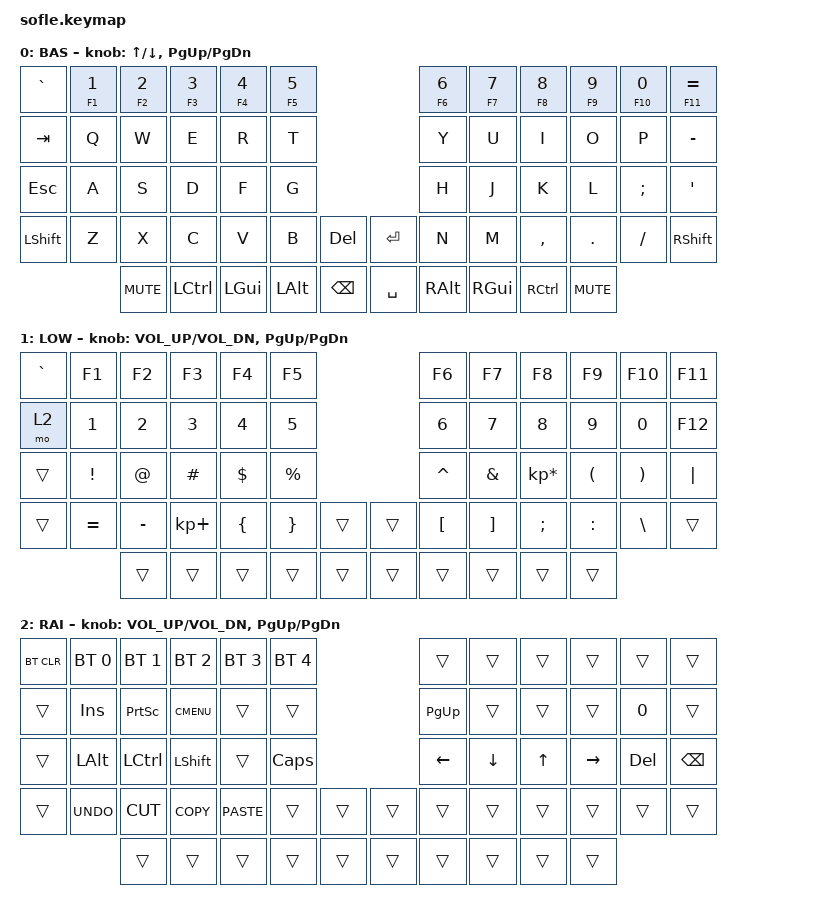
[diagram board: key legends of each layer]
/*
 * Copyright (c) 2020 The ZMK Contributors
 *
 * SPDX-License-Identifier: MIT
 */

#include <behaviors.dtsi>
#include <dt-bindings/zmk/bt.h>
#include <dt-bindings/zmk/keys.h>

/ {
    keymap {
        compatible = "zmk,keymap";

        default_layer {
            display-name = "BAS";

            // ------------------------------------------------------------------------------------------------------------
            // |  `    |  1  |  2  |  3   |  4   |  5   |                   |  6   |  7    |  8    |  9   |   0   |       |
            // |  ESC  |  Q  |  W  |  E   |  R   |  T   |                   |  Y   |  U    |  I    |  O   |   P   | BKSPC |
            // |  TAB  |  A  |  S  |  D   |  F   |  G   |                   |  H   |  J    |  K    |  L   |   ;   |   '   |
            // | SHIFT |  Z  |  X  |  C   |  V   |  B   |  MUTE  |  |       |  N   |  M    |  ,    |  .   |   /   | SHIFT |
            //               | GUI | ALT  | CTRL | LOWER|  ENTER |  | SPACE | RAISE| CTRL  | ALT   | GUI  |

            bindings = <
&kp GRAVE   &mt F1 N1  &mt F2 N2   &mt F3 N3  &mt F4 N4     &mt F5 N5                                 &mt F6 N6      &mt F7 N7  &mt F8 N8  &mt F9 N9   &mt F10 N0  &mt F11 EQUAL
&kp TAB     &kp Q      &kp W       &kp E      &kp R         &kp T                                     &kp Y          &kp U      &kp I      &kp O       &kp P       &kp MINUS
&kp ESCAPE  &kp A      &kp S       &kp D      &kp F         &kp G                                     &kp H          &kp J      &kp K      &kp L       &kp SEMI    &kp SQT
&kp LSHFT   &kp Z      &kp X       &kp C      &kp V         &kp B         &kp DEL          &kp RET    &kp N          &kp M      &kp COMMA  &kp DOT     &kp FSLH    &kp RIGHT_SHIFT
                       &kp K_MUTE  &kp LCTRL  &kp LEFT_GUI  &kp LEFT_ALT  &kp BACKSPACE    &kp SPACE  &kp RIGHT_ALT  &kp RGUI   &kp RCTRL  &kp K_MUTE
            >;

            sensor-bindings = <&inc_dec_kp UP DOWN>, <&inc_dec_kp PG_UP PG_DN>;
        };

        lower_layer {
            display-name = "LOW";

            // ------------------------------------------------------------------------------------------------------------
            // | `     |  F1 |  F2 |  F3  |  F4  |  F5  |                   |  F6  |  F7   |  F8   |  F9  |  F10  |  F11  |
            // | RAISE |   1 |   2 |   3  |   4  |   5  |                   |   6  |   7   |   8   |   9  |    0  |  F12  |
            // |       |  !  |  @  |  #   |  $   |  %   |                   |  ^   |  &    |  *    |  (   |   )   |   |   |
            // |       |  =  |  -  |  +   |  {   |  }   |        |  |       |  [   |  ]    |  ;    |  :   |   \   |       |
            //               |     |      |      |      |        |  |       |      |       |       |      |

            bindings = <
&kp GRAVE  &kp F1     &kp F2     &kp F3       &kp F4    &kp F5                       &kp F6     &kp F7    &kp F8           &kp F9     &kp F10   &kp F11
&mo 2      &kp N1     &kp N2     &kp N3       &kp N4    &kp N5                       &kp N6     &kp N7    &kp N8           &kp N9     &kp N0    &kp F12
&trans     &kp EXCL   &kp AT     &kp HASH     &kp DLLR  &kp PRCNT                    &kp CARET  &kp AMPS  &kp KP_MULTIPLY  &kp LPAR   &kp RPAR  &kp PIPE
&trans     &kp EQUAL  &kp MINUS  &kp KP_PLUS  &kp LBRC  &kp RBRC   &trans    &trans  &kp LBKT   &kp RBKT  &kp SEMI         &kp COLON  &kp BSLH  &trans
                      &trans     &trans       &trans    &trans     &trans    &trans  &trans     &trans    &trans           &trans
            >;

            sensor-bindings = <&inc_dec_kp C_VOL_UP C_VOL_DN &inc_dec_kp PG_UP PG_DN>;
        };

        raise_layer {
            display-name = "RAI";

            // ------------------------------------------------------------------------------------------------------------
            // |BTCLR| BT1  | BT2  |  BT3  |  BT4  |  BT5 |                |      |      |       |      |       |       |
            // |     | INS  | PSCR | GUI   |       |      |                | PGUP |      |       |      |       |       |
            // |     | ALT  | CTRL | SHIFT |       | CAPS |                |  <-  |   v  |   ^   |  ->  |  DEL  | BKSPC |
            // |     | UNDO | CUT  | COPY  | PASTE |      |      |  |      |      |      |       |      |       |       |
            //              |      |       |       |      |      |  |      |      |      |       |      |

            bindings = <
&bt BT_CLR  &bt BT_SEL 0  &bt BT_SEL 1  &bt BT_SEL 2  &bt BT_SEL 3  &bt BT_SEL 4                    &trans     &trans    &trans  &trans     &trans   &trans
&trans      &kp INS       &kp PSCRN     &kp K_CMENU   &trans        &trans                          &kp PG_UP  &trans    &trans  &trans     &kp N0   &trans
&trans      &kp LALT      &kp LCTRL     &kp LSHFT     &trans        &kp CLCK                        &kp LEFT   &kp DOWN  &kp UP  &kp RIGHT  &kp DEL  &kp BSPC
&trans      &kp K_UNDO    &kp K_CUT     &kp K_COPY    &kp K_PASTE   &trans        &trans    &trans  &trans     &trans    &trans  &trans     &trans   &trans
                          &trans        &trans        &trans        &trans        &trans    &trans  &trans     &trans    &trans  &trans
            >;

            sensor-bindings = <&inc_dec_kp C_VOL_UP C_VOL_DN &inc_dec_kp PG_UP PG_DN>;
        };
    };
};
